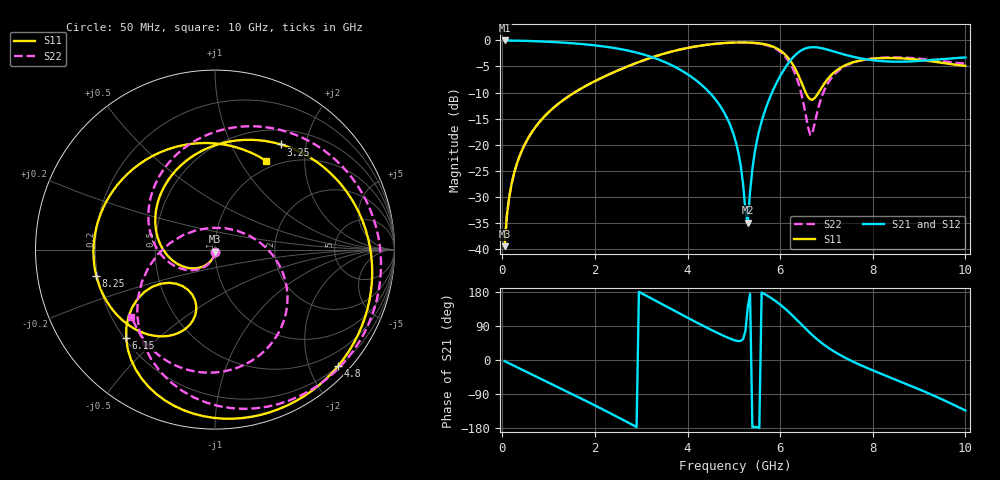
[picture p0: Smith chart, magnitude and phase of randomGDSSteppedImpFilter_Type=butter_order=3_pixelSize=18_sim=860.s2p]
! freq	dB(S11)	phase(S11)	dB(S12)	phase(S12)
!  dB(S21)	phase(S21)	dB(S22)	phase(S22)
!S-par simulation data
#  GHz  S  DB  R 50
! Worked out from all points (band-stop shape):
!   200 points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, 50 MHz to 10 GHz, reference 50 ohm
!   highest |S21| = -0.01 dB at 50 MHz (marker M1); lowest = -35.0 dB at 5.3 GHz (marker M2)
!   |S21| within 3 dB of the highest: start of sweep to 3.164 GHz; 6.305 GHz to 7.512 GHz (1.208 GHz wide, 17.5 % of centre)
!   lowest |S11| = -39.5 dB at 50 MHz (marker M3), VSWR 1.02, Z = 49.9 - j1.06 ohm
!   |S11| at or under -10 dB: start of sweep to 1.56 GHz; 6.552 GHz to 6.83 GHz (278 MHz wide, 4.16 % of centre)
!   |S22| runs from -39.5 to -0.4 dB; largest |S21 - S12| = 0
!   S11 on the Smith chart (normalised r, x): 50 MHz: 1.00, -0.02; 3.25 GHz: 0.70, +1.57; 4.8 GHz: 0.21, -2.51; 6.15 GHz: 0.21, -0.40; 8.25 GHz: 0.19, -0.10; 10 GHz: 0.89, +1.31
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0.05  -39.50 -92.3  -0.01 -3.0  -0.01 -3.0  -39.49 -92.0
0.2  -27.58 -102.5  -0.03 -11.9  -0.03 -11.9  -27.58 -101.4
0.5  -19.71 -121.6  -0.09 -29.7  -0.09 -29.7  -19.71 -118.8
1.15  -12.60 -162.6  -0.33 -68.3  -0.33 -68.3  -12.60 -155.7
1.75  -9.00 158.9  -0.72 -104.5  -0.72 -104.5  -9.00 170.2
2.55  -5.56 105.8  -1.66 -154.4  -1.66 -154.4  -5.56 123.4
3.25  -3.21 58.0  -3.26 160.2  -3.26 160.2  -3.20 80.4
3.4  -2.78 47.7  -3.75 150.4  -3.75 150.4  -2.78 71.0
4.15  -1.19 -2.3  -7.42 101.9  -7.42 101.9  -1.19 23.6
4.8  -0.50 -43.3  -13.99 62.6  -13.99 62.6  -0.51 -17.0
5.05  -0.40 -58.7  -19.73 50.9  -19.73 50.9  -0.41 -32.9
5.3  -0.40 -74.3  -34.96 138.7  -34.96 138.7  -0.43 -49.5
5.4  -0.44 -80.7  -24.69 -177.7  -24.69 -177.7  -0.48 -56.5
5.55  -0.56 -90.6  -17.22 -179.4  -17.22 -179.4  -0.62 -67.6
6.15  -3.11 -135.1  -4.70 130.7  -4.70 130.7  -3.55 -126.5
6.4  -6.81 -149.1  -2.25 101.0  -2.25 101.0  -8.35 -165.2
6.7  -11.37 -123.6  -1.29 65.1  -1.29 65.1  -17.63 65.8
7.2  -5.88 -113.8  -2.23 19.8  -2.23 19.8  -6.27 -33.7
8.25  -3.38 -167.6  -4.01 -39.9  -4.01 -39.9  -3.28 -91.0
8.35  -3.37 -173.2  -4.05 -44.8  -4.05 -44.8  -3.26 -94.9
9.35  -4.12 119.8  -3.69 -95.8  -3.69 -95.8  -3.82 -126.8
10  -4.87 60.0  -3.28 -133.3  -3.28 -133.3  -4.46 -141.3
